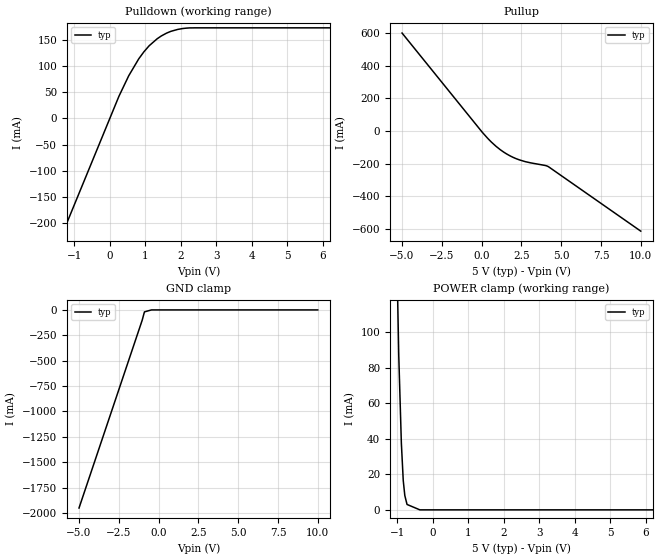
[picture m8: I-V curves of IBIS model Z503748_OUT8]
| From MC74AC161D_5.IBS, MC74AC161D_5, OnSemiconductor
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| (C) COPYRIGHT 1993-2000
| MENTOR GRAPHICS CORPORATION
| ICX STANDARD LIBRARY, ICX PROJECT MODELING,
| ICX CUSTOM MODELING, ICX VENDOR MODEL
| ALL RIGHTS RESERVED.
| THE FOLLOWING ARE TRADEMARKS OR SERVICE MARKS OF
| MENTOR GRAPHICS CORPORATION:ICX (R), ICX STANDARD
| LIBRARY(R), ICX PROJECT MODELING(R), ICX CUSTOM
| MODELING(R), qualityIBIS(TM), MODELVIEWER(TM),
| AND MODELEDITOR(TM)
| ALL COPIES OF SOFTWARE, INCLUDING BUT NOT LIMITED TO
| ANY MODIFICATIONS, ENHANCEMENTS OR DERIVATIVE WORKS,
| MUST CONTAIN ALL MENTOR GRAPHICS CORPORATION'S
| NOTICES AND LEGENDS, INCLUDING THOSE EMBEDDED IN
| SOFTWARE AND THOSE AFFIXED TO SOFTWARE MEDIUM
| AND CONTAINER, AS RECEIVED FROM MENTOR GRAPHICS
| CORPORATION.
| Model Application Version 1.89 2/18/99.
[Model] Z503748_OUT8
Model_type Output
Vref=0.000V
Rref=500.0ohms
Cref=50.00pF
Vmeas=2.500V
C_comp 8.000pF NA NA
| variable typ   min   max
[Voltage Range] 5.000V NA NA
[POWER Clamp Reference] 5.000V NA NA
[Pullup Reference] 5.000V NA NA
[Pulldown Reference] 0.000V NA NA
[GND Clamp Reference] 0.000V NA NA
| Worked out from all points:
|   slope of the pulldown table from 0 to 0.75 V, typ, clamps not added: 7.04 ohm
|   slope of the pullup table from 0 to 0.75 V, typ, clamps not added: 9.73 ohm
[GND Clamp]
-5V       -1.952A    NA         NA
-1.031V   -102mA     NA         NA
-888.7mV  -19.44mA   NA         NA
-444.4mV  0A         NA         NA
10V       0A         NA         NA
[Pulldown]
-5V       -824.5mA   NA         NA
260.5mV   42.29mA    NA         NA
538.3mV   81.64mA    NA         NA
820.3mV   113.9mA    NA         NA
966.8mV   127.4mA    NA         NA
1.113V    138.8mA    NA         NA
1.338V    152.1mA    NA         NA
1.724V    166.3mA    NA         NA
1.919V    170mA      NA         NA
2.256V    172.9mA    NA         NA
10V       173mA      NA         NA
[Pullup]
-5V       599mA      NA         NA
34mV      -7.591mA   NA         NA
900mV     -93.96mA   NA         NA
1.567V    -140.9mA   NA         NA
2.173V    -170.2mA   NA         NA
2.734V    -188.1mA   NA         NA
4.199V    -219.1mA   NA         NA
10V       -613.7mA   NA         NA
[POWER Clamp]
-5V       4.281A     NA         NA
-957mV    87.28mA    NA         NA
-883mV    37.59mA    NA         NA
-830mV    16.58mA    NA         NA
-786mV    8.093mA    NA         NA
-723mV    3.034mA    NA         NA
-361.5mV  0A         NA         NA
10V       0A         NA         NA
[Ramp]
| variable typ min max
dV/dt_r 2.965/308.9p NA NA
dV/dt_f 2.965/325.3p NA NA
R_load = 500.0Ohms
